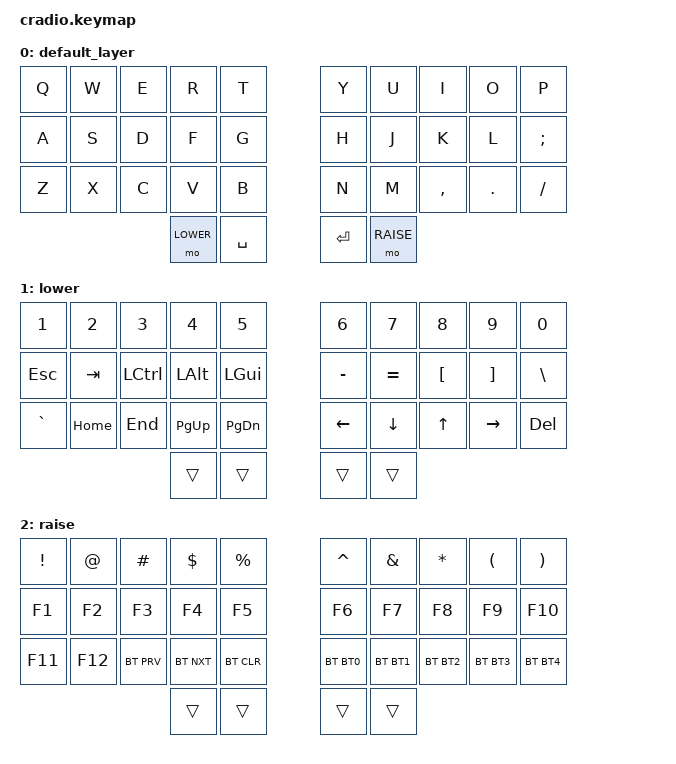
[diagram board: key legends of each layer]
#include <behaviors.dtsi>
#include <dt-bindings/zmk/studio.h>
CONFIG_ZMK_STUDIO=y


/ {
    keymap {
        compatible = "zmk,keymap";

        default_layer {
            bindings = <
                &kp Q   &kp W   &kp E   &kp R   &kp T       &kp Y   &kp U   &kp I    &kp O    &kp P
                &kp A   &kp S   &kp D   &kp F   &kp G       &kp H   &kp J   &kp K    &kp L    &kp SEMI
                &kp Z   &kp X   &kp C   &kp V   &kp B       &kp N   &kp M   &kp COMMA &kp DOT &kp SLASH
                                   &mo LOWER  &kp SPACE     &kp ENTER  &mo RAISE
            >;
        };

        lower {
            bindings = <
                &kp N1  &kp N2  &kp N3  &kp N4  &kp N5      &kp N6  &kp N7  &kp N8  &kp N9  &kp N0
                &kp ESC &kp TAB &kp LCTRL &kp LALT &kp LGUI &kp MINUS &kp EQUAL &kp LBKT &kp RBKT &kp BSLH
                &kp GRAVE &kp HOME &kp END &kp PG_UP &kp PG_DN  &kp LEFT &kp DOWN &kp UP &kp RIGHT &kp DEL
                                   &trans     &trans          &trans     &trans
            >;
        };

        raise {
            bindings = <
                &kp EXCL &kp AT &kp HASH &kp DLLR &kp PERCENT  &kp CARET &kp AMPS &kp STAR &kp LPAR &kp RPAR
                &kp F1   &kp F2 &kp F3   &kp F4   &kp F5       &kp F6    &kp F7   &kp F8   &kp F9   &kp F10
                &kp F11  &kp F12 &bt PRV &bt NXT  &bt CLR      &bt BT0   &bt BT1  &bt BT2  &bt BT3  &bt BT4
                                   &trans   &trans            &trans     &trans
            >;
        };
    };
};

